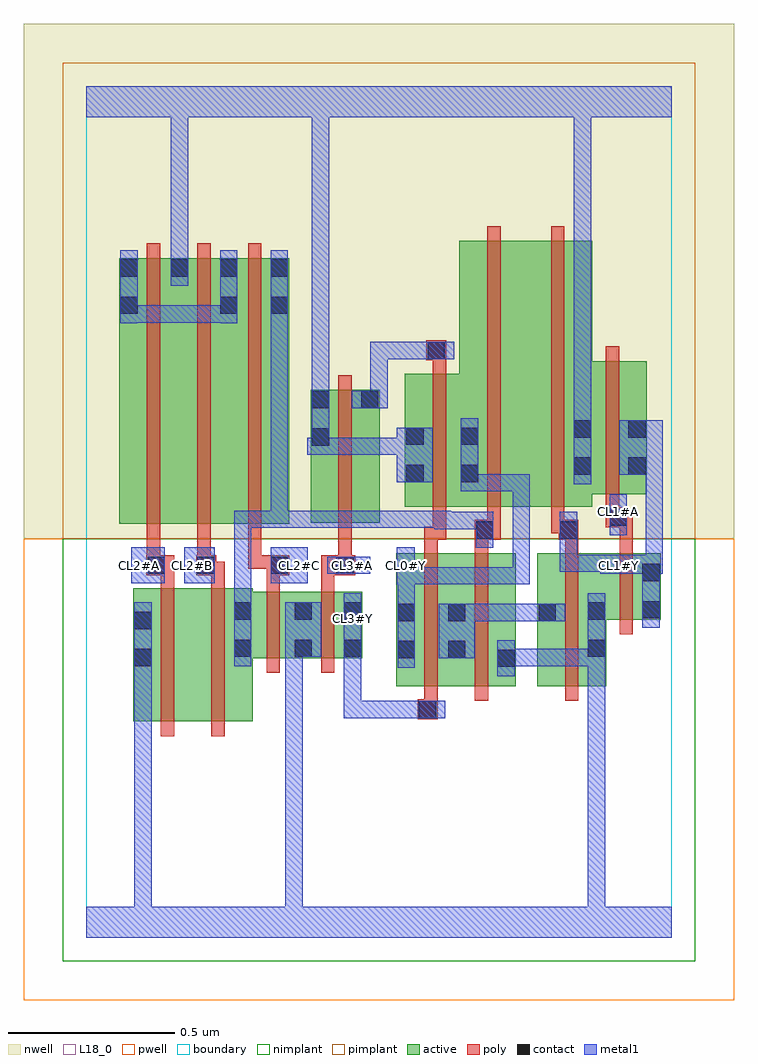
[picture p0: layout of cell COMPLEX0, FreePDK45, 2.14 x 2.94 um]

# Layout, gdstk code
import gdstk
lib = gdstk.Library(unit=1e-6, precision=1e-09)
def R(c, l, rs):  # rectangles x0, y0, x1, y1
    for r in rs: c.add(gdstk.rectangle(r[:2], r[2:], *l))
def A(c, l, x, y, w, h, nx, ny, dx, dy):  # array of equal rectangles
    R(c, l, [(x+i*dx, y+j*dy, x+i*dx+w, y+j*dy+h) for i in range(nx) for j in range(ny)])
active = (1, 0)
pwell = (2, 0)
nwell = (3, 0)
nimplant = (4, 0)
pimplant = (5, 0)
poly = (9, 0)
contact = (10, 0)
metal1 = (11, 0)
L18_0 = (18, 0)
boundary = (235, 0)

complex0 = lib.new_cell('COMPLEX0')
R(complex0, active, [(0.14,0.65,0.2,1.05), (0.14,0.65,0.32,1.05), (0.32,0.65,0.5,1.05), (0.44,0.65,0.5,1.012), (0.932,0.756,0.992,1.156), (0.932,0.756,1.144,1.156), (1.084,0.756,1.292,1.156), (1.084,0.756,1.144,1.156), (1.232,0.756,1.292,1.156), (1.356,0.756,1.564,1.156), (1.356,0.756,1.416,1.156), (0.44,0.84,0.682,1.04), (0.622,0.84,0.83,1.04), (0.622,0.84,0.682,1.012), (0.77,0.84,0.83,1.04), (1.504,0.84,1.564,1.018), (1.504,0.956,1.728,1.156), (1.668,0.956,1.728,1.156), (0.098,1.244,0.158,2.044), (0.098,1.244,0.31,2.044), (0.25,1.244,0.458,2.044), (0.398,1.244,0.61,2.044), (0.55,1.244,0.61,2.044), (0.674,1.248,0.882,1.648), (0.674,1.248,0.734,1.648), (0.822,1.248,0.882,1.648), (0.958,1.296,1.182,1.696), (0.958,1.296,1.018,1.644), (1.122,1.296,1.302,2.096), (1.122,1.296,1.182,2.096), (1.302,1.296,1.522,2.096), (1.462,1.334,1.686,1.734), (1.626,1.334,1.686,1.734), (0.398,1.338,0.458,2.044), (1.462,1.388,1.522,1.644), (0.25,1.476,0.31,2.044)])
R(complex0, pwell, [(-0.188,-0.188,1.948,1.2)])
R(complex0, nwell, [(-0.188,1.2,1.948,2.748)])
R(complex0, nimplant, [(-0.072,-0.072,1.832,1.2)])
R(complex0, pimplant, [(-0.072,1.2,1.832,2.632)])
A(complex0, poly, 0.182, 1.11, 0.04, 0.13, 3, 1, 0.152, 0)
A(complex0, poly, 0.182, 1.2, 0.04, 0.888, 3, 1, 0.152, 0)
R(complex0, poly, [(0.224,0.606,0.264,1.094), (0.376,0.606,0.416,1.094), (0.996,0.656,1.056,0.716), (1.016,0.676,1.056,0.752), (1.016,0.712,1.056,1.2), (1.168,0.712,1.208,1.2), (1.44,0.712,1.48,1.2), (0.542,0.796,0.582,1.084), (0.706,0.796,0.746,1.084), (1.604,0.912,1.644,1.2), (0.542,1.044,0.582,1.13), (0.706,1.044,0.746,1.13), (0.224,1.054,0.264,1.13), (0.376,1.054,0.416,1.13), (0.18,1.09,0.264,1.15), (0.33,1.09,0.39,1.15), (0.35,1.09,0.39,1.13), (0.35,1.09,0.416,1.13), (0.542,1.09,0.61,1.15), (0.706,1.09,0.808,1.15), (0.182,1.11,0.222,1.15), (0.182,1.11,0.222,1.15), (0.486,1.11,0.582,1.15), (0.542,1.11,0.582,1.15), (0.758,1.11,0.798,1.15), (0.758,1.11,0.798,1.15), (0.758,1.11,0.798,1.244), (1.016,1.16,1.056,1.236), (1.168,1.16,1.208,1.236), (1.44,1.16,1.48,1.236), (1.604,1.16,1.644,1.274), (1.016,1.196,1.082,1.236), (1.042,1.196,1.082,1.236), (1.042,1.196,1.082,1.236), (1.042,1.196,1.082,1.292), (1.168,1.196,1.208,1.236), (1.168,1.196,1.208,1.236), (1.168,1.196,1.246,1.256), (1.42,1.196,1.48,1.256), (0.758,1.204,0.798,1.692), (1.206,1.216,1.246,1.292), (1.398,1.216,1.438,1.292), (1.398,1.216,1.46,1.256), (1.42,1.216,1.46,1.256), (1.562,1.234,1.63,1.294), (1.59,1.234,1.63,1.274), (1.59,1.234,1.644,1.274), (1.042,1.252,1.082,1.74), (1.206,1.252,1.246,2.14), (1.398,1.252,1.438,2.14), (1.562,1.254,1.602,1.33), (1.562,1.29,1.602,1.778), (1.042,1.7,1.082,1.776), (1.022,1.736,1.082,1.796)])
R(complex0, contact, [(1,0.66,1.052,0.712), (1.236,0.814,1.288,0.866), (0.144,0.816,0.196,0.868), (0.936,0.84,0.988,0.892), (1.088,0.84,1.14,0.892), (0.444,0.844,0.496,0.896), (0.626,0.844,0.678,0.896), (0.774,0.844,0.826,0.896), (1.508,0.844,1.56,0.896), (0.144,0.928,0.196,0.98), (0.936,0.952,0.988,1.004), (1.088,0.952,1.14,1.004), (1.36,0.952,1.412,1.004), (0.444,0.956,0.496,1.008), (0.626,0.956,0.678,1.008), (0.774,0.956,0.826,1.008), (1.508,0.956,1.56,1.008), (1.672,0.96,1.724,1.012), (1.672,1.072,1.724,1.124), (0.184,1.094,0.236,1.146), (0.334,1.094,0.386,1.146), (0.554,1.094,0.606,1.146), (0.752,1.094,0.804,1.146), (1.172,1.2,1.224,1.252), (1.424,1.2,1.476,1.252), (1.574,1.238,1.626,1.29), (0.962,1.37,1.014,1.422), (1.126,1.37,1.178,1.422), (1.466,1.392,1.518,1.444), (1.63,1.392,1.682,1.444), (0.678,1.48,0.73,1.532), (0.962,1.482,1.014,1.534), (1.126,1.482,1.178,1.534), (1.466,1.504,1.518,1.556), (1.63,1.504,1.682,1.556), (0.678,1.592,0.73,1.644), (0.826,1.592,0.878,1.644), (1.026,1.74,1.078,1.792), (0.102,1.876,0.154,1.928), (0.402,1.876,0.454,1.928), (0.554,1.876,0.606,1.928), (0.102,1.988,0.154,2.04), (0.254,1.988,0.306,2.04), (0.402,1.988,0.454,2.04), (0.554,1.988,0.606,2.04)])
R(complex0, metal1, [(0,0,1.76,0.092), (0.144,0.04,0.196,0.092), (0.144,0.04,0.196,0.092), (0.144,0.04,0.196,0.092), (0.144,0.04,0.196,0.092), (0.144,0.04,0.196,0.092), (0.144,0.04,0.196,0.092), (0.144,0.04,0.196,0.092), (0.144,0.04,0.196,0.092), (0.144,0.04,0.196,0.092), (0.144,0.04,0.196,0.092), (0.144,0.04,0.196,0.092), (0.144,0.04,0.196,0.092), (0.144,0.04,0.196,0.84), (0.598,0.04,0.65,0.092), (0.598,0.04,0.65,0.092), (0.598,0.04,0.65,0.092), (0.598,0.04,0.65,0.092), (0.598,0.04,0.65,0.092), (0.598,0.04,0.65,0.092), (0.598,0.04,0.65,0.092), (0.598,0.04,0.65,0.092), (0.598,0.04,0.65,0.092), (0.598,0.04,0.65,0.092), (0.598,0.04,0.65,0.092), (0.598,0.04,0.65,0.092), (0.598,0.04,0.65,0.092), (0.598,0.04,0.65,0.092), (0.598,0.04,0.65,0.092), (0.598,0.04,0.65,0.092), (0.598,0.04,0.65,0.896), (1.508,0.04,1.56,0.092), (1.508,0.04,1.56,0.092), (1.508,0.04,1.56,0.092), (1.508,0.04,1.56,0.092), (1.508,0.04,1.56,0.092), (1.508,0.04,1.56,0.092), (1.508,0.04,1.56,0.092), (1.508,0.04,1.56,0.092), (1.508,0.04,1.56,0.092), (1.508,0.04,1.56,0.092), (1.508,0.04,1.56,0.092), (1.508,0.04,1.56,0.092), (1.508,0.04,1.56,0.868), (0.774,0.66,0.826,0.712), (0.774,0.66,0.826,0.712), (0.774,0.66,0.826,0.712), (0.774,0.66,0.84,0.712), (0.774,0.66,0.826,0.868), (0.788,0.66,0.84,0.712), (0.788,0.66,1.024,0.712), (0.972,0.66,1.08,0.712), (1.236,0.786,1.288,0.894), (0.144,0.788,0.196,1.008), (0.936,0.812,0.988,1.032), (0.444,0.816,0.496,1.036), (0.774,0.816,0.826,0.868), (0.774,0.816,0.826,0.868), (0.774,0.816,0.826,1.036), (1.236,0.816,1.366,0.868), (1.314,0.816,1.366,0.868), (1.314,0.816,1.476,0.868), (1.424,0.816,1.476,0.868), (1.424,0.816,1.56,0.868), (1.508,0.816,1.56,1.036), (1.06,0.84,1.168,1.004), (0.598,0.844,0.706,1.008), (1.672,0.932,1.724,1.152), (1.116,0.952,1.224,1.004), (1.172,0.952,1.224,1.004), (1.172,0.952,1.334,1.004), (1.282,0.952,1.334,1.004), (1.282,0.952,1.384,1.004), (1.332,0.952,1.44,1.004), (0.936,0.98,0.988,1.114), (0.444,0.984,0.496,1.036), (0.444,0.984,0.496,1.036), (0.444,0.984,0.496,1.284), (0.934,1.062,0.988,1.174), (0.936,1.062,1.016,1.114), (0.964,1.062,1.016,1.114), (0.964,1.062,1.178,1.114), (1.126,1.062,1.178,1.114), (1.126,1.062,1.178,1.114), (1.126,1.062,1.178,1.114), (1.126,1.062,1.334,1.114), (1.282,1.062,1.334,1.114), (1.282,1.062,1.334,1.394), (0.134,1.066,0.236,1.174), (0.294,1.066,0.386,1.174), (0.554,1.066,0.666,1.174), (0.724,1.094,0.854,1.146), (1.546,1.094,1.734,1.152), (1.672,1.094,1.724,1.146), (1.424,1.1,1.476,1.224), (1.424,1.1,1.598,1.152), (1.546,1.1,1.598,1.152), (1.546,1.1,1.598,1.152), (1.682,1.1,1.734,1.444), (1.682,1.1,1.734,1.152), (1.682,1.1,1.734,1.152), (1.172,1.172,1.224,1.28), (1.424,1.172,1.476,1.224), (1.424,1.172,1.476,1.28), (1.574,1.21,1.626,1.334), (1.046,1.228,1.224,1.28), (1.046,1.228,1.098,1.284), (0.444,1.232,0.496,1.284), (0.444,1.232,0.496,1.284), (0.444,1.232,0.496,1.284), (0.444,1.232,0.606,1.284), (0.554,1.232,0.606,1.284), (0.554,1.232,0.606,1.284), (0.554,1.232,0.606,1.284), (0.554,1.232,0.73,1.284), (0.554,1.232,0.606,1.9), (0.678,1.232,0.73,1.284), (0.678,1.232,0.84,1.284), (0.788,1.232,0.84,1.284), (0.788,1.232,0.84,1.284), (0.788,1.232,0.84,1.284), (0.788,1.232,1.068,1.284), (1.016,1.232,1.068,1.284), (1.016,1.232,1.098,1.284), (1.126,1.342,1.178,1.394), (1.126,1.342,1.178,1.394), (1.126,1.342,1.178,1.562), (1.126,1.342,1.334,1.394), (1.282,1.342,1.334,1.394), (1.282,1.342,1.334,1.394), (1.282,1.342,1.334,1.394), (1.466,1.364,1.518,1.584), (0.934,1.37,1.042,1.534), (1.602,1.392,1.734,1.556), (0.664,1.452,0.716,1.504), (0.664,1.452,0.716,1.504), (0.664,1.452,0.716,1.504), (0.664,1.452,0.716,1.504), (0.664,1.452,0.716,1.504), (0.664,1.452,0.716,1.504), (0.664,1.452,0.73,1.504), (0.664,1.452,0.906,1.504), (0.678,1.452,0.73,1.504), (0.678,1.452,0.73,1.672), (0.854,1.452,0.906,1.504), (0.854,1.452,0.986,1.504), (1.466,1.532,1.518,2.52), (0.798,1.592,0.906,1.644), (0.854,1.592,0.906,1.792), (0.678,1.62,0.73,1.672), (0.678,1.62,0.73,1.672), (0.678,1.62,0.73,1.672), (0.678,1.62,0.73,1.672), (0.678,1.62,0.73,1.672), (0.678,1.62,0.73,1.672), (0.678,1.62,0.73,1.672), (0.678,1.62,0.73,1.672), (0.678,1.62,0.73,1.672), (0.678,1.62,0.73,1.672), (0.678,1.62,0.73,1.672), (0.678,1.62,0.73,1.672), (0.678,1.62,0.73,2.52), (0.854,1.74,0.906,1.792), (0.854,1.74,0.906,1.792), (0.854,1.74,0.906,1.792), (0.854,1.74,1.05,1.792), (0.998,1.74,1.106,1.792), (0.102,1.848,0.154,2.068), (0.402,1.848,0.454,2.068), (0.554,1.848,0.606,2.068), (0.102,1.85,0.154,1.902), (0.102,1.85,0.154,1.902), (0.102,1.85,0.344,1.902), (0.292,1.85,0.344,1.902), (0.292,1.85,0.344,1.902), (0.292,1.85,0.344,1.902), (0.292,1.85,0.454,1.902), (0.254,1.96,0.306,2.068), (0.254,2.016,0.306,2.52), (0,2.468,1.76,2.56), (0.254,2.468,0.306,2.52), (0.254,2.468,0.306,2.52), (0.254,2.468,0.306,2.52), (0.254,2.468,0.306,2.52), (0.254,2.468,0.306,2.52), (0.254,2.468,0.306,2.52), (0.254,2.468,0.306,2.52), (0.254,2.468,0.306,2.52), (0.678,2.468,0.73,2.52), (0.678,2.468,0.73,2.52), (0.678,2.468,0.73,2.52), (0.678,2.468,0.73,2.52), (1.466,2.468,1.518,2.52), (1.466,2.468,1.518,2.52), (1.466,2.468,1.518,2.52), (1.466,2.468,1.518,2.52), (1.466,2.468,1.518,2.52), (1.466,2.468,1.518,2.52), (1.466,2.468,1.518,2.52), (1.466,2.468,1.518,2.52)])
A(complex0, L18_0, 0.614, 1.094, 0.052, 0.052, 3, 1, 0.16, 0)
R(complex0, L18_0, [(0,0,1.76,0.092), (0.144,0.04,0.196,0.092), (0.144,0.04,0.196,0.092), (0.144,0.04,0.196,0.092), (0.144,0.04,0.196,0.092), (0.144,0.04,0.196,0.092), (0.144,0.04,0.196,0.092), (0.144,0.04,0.196,0.092), (0.144,0.04,0.196,0.092), (0.144,0.04,0.196,0.092), (0.144,0.04,0.196,0.092), (0.144,0.04,0.196,0.092), (0.144,0.04,0.196,0.092), (0.144,0.04,0.196,0.84), (0.598,0.04,0.65,0.092), (0.598,0.04,0.65,0.092), (0.598,0.04,0.65,0.092), (0.598,0.04,0.65,0.092), (0.598,0.04,0.65,0.092), (0.598,0.04,0.65,0.092), (0.598,0.04,0.65,0.092), (0.598,0.04,0.65,0.092), (0.598,0.04,0.65,0.092), (0.598,0.04,0.65,0.092), (0.598,0.04,0.65,0.092), (0.598,0.04,0.65,0.092), (0.598,0.04,0.65,0.092), (0.598,0.04,0.65,0.092), (0.598,0.04,0.65,0.092), (0.598,0.04,0.65,0.092), (0.598,0.04,0.65,0.896), (1.508,0.04,1.56,0.092), (1.508,0.04,1.56,0.092), (1.508,0.04,1.56,0.092), (1.508,0.04,1.56,0.092), (1.508,0.04,1.56,0.092), (1.508,0.04,1.56,0.092), (1.508,0.04,1.56,0.092), (1.508,0.04,1.56,0.092), (1.508,0.04,1.56,0.092), (1.508,0.04,1.56,0.092), (1.508,0.04,1.56,0.092), (1.508,0.04,1.56,0.092), (1.508,0.04,1.56,0.868), (0.774,0.66,0.826,0.712), (0.774,0.66,0.826,0.712), (0.774,0.66,0.826,0.712), (0.774,0.66,0.84,0.712), (0.774,0.66,0.826,0.868), (0.788,0.66,0.84,0.712), (0.788,0.66,1.024,0.712), (0.972,0.66,1.08,0.712), (1.236,0.786,1.288,0.894), (0.144,0.788,0.196,1.008), (0.936,0.812,0.988,1.032), (0.774,0.816,0.826,0.868), (0.774,0.816,0.826,0.868), (0.774,0.816,0.826,1.036), (1.236,0.816,1.366,0.868), (1.314,0.816,1.366,0.868), (1.314,0.816,1.476,0.868), (1.424,0.816,1.476,0.868), (1.424,0.816,1.56,0.868), (1.508,0.816,1.56,1.036), (0.598,0.844,0.706,1.008), (1.672,0.932,1.724,1.152), (0.774,0.934,0.826,0.986), (0.936,0.98,0.988,1.114), (0.934,1.062,0.988,1.174), (0.936,1.062,1.016,1.114), (0.964,1.062,1.016,1.114), (0.964,1.062,1.178,1.114), (1.126,1.062,1.178,1.114), (1.126,1.062,1.178,1.114), (1.126,1.062,1.178,1.114), (1.126,1.062,1.334,1.114), (1.282,1.062,1.334,1.114), (1.282,1.062,1.334,1.394), (0.134,1.066,0.236,1.174), (0.294,1.066,0.386,1.174), (0.554,1.066,0.666,1.174), (0.134,1.094,0.186,1.146), (0.294,1.094,0.346,1.146), (0.724,1.094,0.854,1.146), (1.546,1.094,1.734,1.152), (1.574,1.094,1.626,1.146), (1.672,1.094,1.724,1.146), (1.424,1.1,1.476,1.224), (1.424,1.1,1.598,1.152), (1.546,1.1,1.598,1.152), (1.546,1.1,1.598,1.152), (1.682,1.1,1.734,1.152), (1.682,1.1,1.734,1.152), (1.682,1.1,1.734,1.444), (1.424,1.172,1.476,1.224), (1.424,1.172,1.476,1.28), (1.574,1.21,1.626,1.334), (1.574,1.254,1.626,1.306), (1.126,1.342,1.178,1.394), (1.126,1.342,1.178,1.394), (1.126,1.342,1.178,1.562), (1.126,1.342,1.334,1.394), (1.282,1.342,1.334,1.394), (1.282,1.342,1.334,1.394), (1.282,1.342,1.334,1.394), (1.466,1.364,1.518,1.584), (0.934,1.37,1.042,1.534), (1.602,1.392,1.734,1.556), (0.664,1.452,0.716,1.504), (0.664,1.452,0.716,1.504), (0.664,1.452,0.716,1.504), (0.664,1.452,0.716,1.504), (0.664,1.452,0.716,1.504), (0.664,1.452,0.716,1.504), (0.664,1.452,0.73,1.504), (0.664,1.452,0.906,1.504), (0.678,1.452,0.73,1.504), (0.678,1.452,0.73,1.672), (0.854,1.452,0.906,1.504), (0.854,1.452,0.986,1.504), (1.466,1.532,1.518,2.52), (0.798,1.592,0.906,1.644), (0.854,1.592,0.906,1.792), (0.678,1.62,0.73,1.672), (0.678,1.62,0.73,1.672), (0.678,1.62,0.73,1.672), (0.678,1.62,0.73,1.672), (0.678,1.62,0.73,1.672), (0.678,1.62,0.73,1.672), (0.678,1.62,0.73,1.672), (0.678,1.62,0.73,1.672), (0.678,1.62,0.73,1.672), (0.678,1.62,0.73,1.672), (0.678,1.62,0.73,1.672), (0.678,1.62,0.73,1.672), (0.678,1.62,0.73,2.52), (0.854,1.74,0.906,1.792), (0.854,1.74,0.906,1.792), (0.854,1.74,0.906,1.792), (0.854,1.74,1.05,1.792), (0.998,1.74,1.106,1.792), (0.254,1.96,0.306,2.068), (0.254,2.016,0.306,2.52), (0,2.468,1.76,2.56), (0.254,2.468,0.306,2.52), (0.254,2.468,0.306,2.52), (0.254,2.468,0.306,2.52), (0.254,2.468,0.306,2.52), (0.254,2.468,0.306,2.52), (0.254,2.468,0.306,2.52), (0.254,2.468,0.306,2.52), (0.254,2.468,0.306,2.52), (0.678,2.468,0.73,2.52), (0.678,2.468,0.73,2.52), (0.678,2.468,0.73,2.52), (0.678,2.468,0.73,2.52), (1.466,2.468,1.518,2.52), (1.466,2.468,1.518,2.52), (1.466,2.468,1.518,2.52), (1.466,2.468,1.518,2.52), (1.466,2.468,1.518,2.52), (1.466,2.468,1.518,2.52), (1.466,2.468,1.518,2.52), (1.466,2.468,1.518,2.52)])
R(complex0, boundary, [(0,0,1.76,2.56)])
complex0.add(gdstk.Label('CL0#Y', (0.96,1.12), layer=11, texttype=0))
complex0.add(gdstk.Label('CL1#A', (1.6,1.28), layer=11, texttype=0))
complex0.add(gdstk.Label('CL1#Y', (1.6,1.12), layer=11, texttype=0))
complex0.add(gdstk.Label('CL2#A', (0.16,1.12), layer=11, texttype=0))
complex0.add(gdstk.Label('CL2#B', (0.32,1.12), layer=11, texttype=0))
complex0.add(gdstk.Label('CL2#C', (0.64,1.12), layer=11, texttype=0))
complex0.add(gdstk.Label('CL3#A', (0.8,1.12), layer=11, texttype=0))
complex0.add(gdstk.Label('CL3#Y', (0.8,0.96), layer=11, texttype=0))

lib.write_gds('COMPLEX0.gds')
